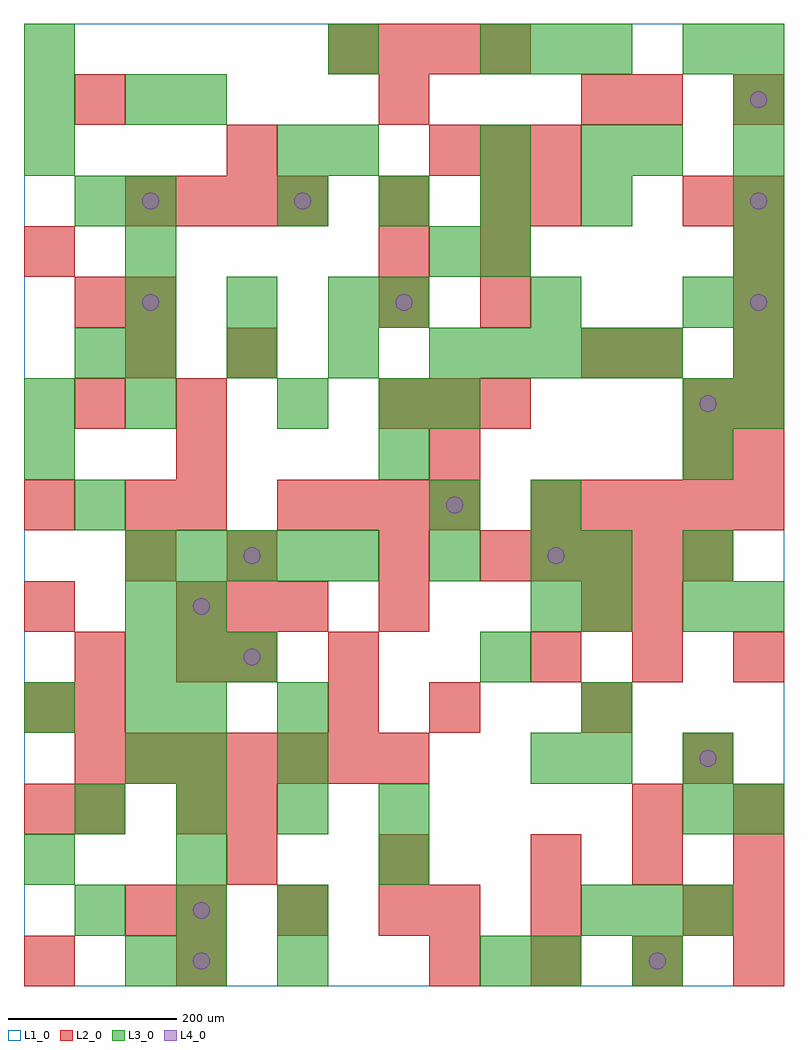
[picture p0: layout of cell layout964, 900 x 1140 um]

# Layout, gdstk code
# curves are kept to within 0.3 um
import gdstk
lib = gdstk.Library(unit=1e-6, precision=1e-09)
def R(c, l, rs):  # rectangles x0, y0, x1, y1
    for r in rs: c.add(gdstk.rectangle(r[:2], r[2:], *l))
def A(c, l, x, y, w, h, nx, ny, dx, dy):  # array of equal rectangles
    R(c, l, [(x+i*dx, y+j*dy, x+i*dx+w, y+j*dy+h) for i in range(nx) for j in range(ny)])
def P(c, l, *ps):  # polygons
    for p in ps: c.add(gdstk.Polygon(p, *l))
L1_0 = (1, 0)
L2_0 = (2, 0)
L3_0 = (3, 0)
L4_0 = (4, 0)

layout964 = lib.new_cell('layout964')
R(layout964, L1_0, [(0,0,900,1140)])
A(layout964, L2_0, 180, 0, 60, 60, 1, 4, 0, 180)
A(layout964, L2_0, 480, 0, 60, 60, 4, 1, 120, 0)
A(layout964, L2_0, 180, 60, 60, 60, 3, 1, 120, 0)
A(layout964, L2_0, 840, 60, 60, 60, 1, 3, 0, 60)
A(layout964, L2_0, 240, 120, 60, 60, 3, 1, 180, 0)
A(layout964, L2_0, 0, 180, 60, 60, 1, 4, 0, 120)
A(layout964, L2_0, 60, 240, 60, 60, 7, 1, 60, 0)
A(layout964, L2_0, 600, 360, 60, 60, 3, 1, 120, 0)
A(layout964, L2_0, 180, 420, 60, 60, 3, 1, 60, 0)
A(layout964, L2_0, 660, 420, 60, 60, 1, 3, 0, 300)
A(layout964, L2_0, 720, 420, 60, 60, 1, 3, 0, 300)
A(layout964, L2_0, 240, 480, 60, 60, 1, 3, 0, 240)
A(layout964, L2_0, 540, 480, 60, 60, 5, 1, 60, 0)
A(layout964, L2_0, 300, 540, 60, 60, 4, 1, 60, 0)
A(layout964, L2_0, 600, 540, 60, 60, 5, 1, 60, 0)
A(layout964, L2_0, 180, 600, 60, 60, 3, 1, 300, 0)
A(layout964, L2_0, 840, 600, 60, 60, 1, 6, 0, 60)
A(layout964, L2_0, 420, 660, 60, 60, 3, 1, 60, 0)
A(layout964, L2_0, 420, 780, 60, 60, 1, 3, 0, 60)
A(layout964, L2_0, 540, 780, 60, 60, 1, 3, 0, 60)
A(layout964, L2_0, 120, 900, 60, 60, 4, 1, 60, 0)
A(layout964, L2_0, 480, 960, 60, 60, 3, 1, 60, 0)
A(layout964, L2_0, 360, 1080, 60, 60, 4, 1, 60, 0)
R(layout964, L2_0, [(0,0,60,60), (120,60,180,120), (480,60,540,120), (600,60,660,120), (780,60,840,120), (720,120,780,180), (60,180,120,240), (240,180,300,240), (720,180,780,240), (780,240,840,300), (60,300,120,360), (360,300,420,360), (480,300,540,360), (660,300,720,360), (60,360,120,420), (240,360,300,420), (360,360,420,420), (420,420,480,480), (120,480,180,540), (420,480,480,540), (120,540,180,600), (60,660,120,720), (180,660,240,720), (780,660,840,720), (120,720,180,780), (60,780,120,840), (120,780,180,840), (0,840,60,900), (600,900,660,960), (780,900,840,960), (60,1020,120,1080), (420,1020,480,1080), (840,1020,900,1080)])
A(layout964, L3_0, 180, 0, 60, 60, 1, 3, 0, 120)
A(layout964, L3_0, 60, 60, 60, 60, 3, 1, 120, 0)
A(layout964, L3_0, 660, 60, 60, 60, 3, 1, 60, 0)
A(layout964, L3_0, 60, 180, 60, 60, 4, 1, 120, 0)
A(layout964, L3_0, 840, 180, 60, 60, 1, 3, 0, 240)
A(layout964, L3_0, 120, 360, 60, 60, 3, 1, 60, 0)
A(layout964, L3_0, 600, 420, 60, 60, 1, 3, 0, 60)
A(layout964, L3_0, 120, 480, 60, 60, 5, 1, 60, 0)
A(layout964, L3_0, 60, 540, 60, 60, 1, 3, 0, 180)
A(layout964, L3_0, 120, 720, 60, 60, 4, 1, 120, 0)
A(layout964, L3_0, 540, 720, 60, 60, 4, 1, 60, 0)
A(layout964, L3_0, 840, 720, 60, 60, 1, 7, 0, 60)
A(layout964, L3_0, 120, 780, 60, 60, 3, 1, 120, 0)
A(layout964, L3_0, 420, 780, 60, 60, 3, 1, 180, 0)
A(layout964, L3_0, 300, 900, 60, 60, 4, 1, 120, 0)
A(layout964, L3_0, 0, 960, 60, 60, 1, 3, 0, 60)
A(layout964, L3_0, 540, 1080, 60, 60, 3, 1, 60, 0)
R(layout964, L3_0, [(120,0,180,60), (300,0,360,60), (540,0,600,60), (600,0,660,60), (720,0,780,60), (0,120,60,180), (420,120,480,180), (780,180,840,240), (120,240,180,300), (300,240,360,300), (600,240,660,300), (660,240,720,300), (780,240,840,300), (0,300,60,360), (120,300,180,360), (180,300,240,360), (300,300,360,360), (660,300,720,360), (540,360,600,420), (120,420,180,480), (180,420,240,480), (660,420,720,480), (780,420,840,480), (480,480,540,540), (660,480,720,540), (780,480,840,540), (480,540,540,600), (0,600,60,660), (420,600,480,660), (780,600,840,660), (0,660,60,720), (120,660,180,720), (300,660,360,720), (420,660,480,720), (480,660,540,720), (780,660,840,720), (120,840,180,900), (480,840,540,900), (540,840,600,900), (120,900,180,960), (300,960,360,1020), (360,960,420,1020), (540,960,600,1020), (660,960,720,1020), (720,960,780,1020), (120,1020,180,1080), (180,1020,240,1080), (360,1080,420,1140), (780,1080,840,1140)])
P(layout964, L4_0, [(160,810),(159.239,813.827),(157.071,817.071),(153.827,819.239),(150,820),(146.173,819.239),(142.929,817.071),(140.761,813.827),(140,810),(140.761,806.173),(142.929,802.929),(146.173,800.761),(150,800),(153.827,800.761),(157.071,802.929),(159.239,806.173)],
  [(160,930),(159.239,933.827),(157.071,937.071),(153.827,939.239),(150,940),(146.173,939.239),(142.929,937.071),(140.761,933.827),(140,930),(140.761,926.173),(142.929,922.929),(146.173,920.761),(150,920),(153.827,920.761),(157.071,922.929),(159.239,926.173)],
  [(220,30),(219.239,33.827),(217.071,37.071),(213.827,39.239),(210,40),(206.173,39.239),(202.929,37.071),(200.761,33.827),(200,30),(200.761,26.173),(202.929,22.929),(206.173,20.761),(210,20),(213.827,20.761),(217.071,22.929),(219.239,26.173)],
  [(220,90),(219.239,93.827),(217.071,97.071),(213.827,99.239),(210,100),(206.173,99.239),(202.929,97.071),(200.761,93.827),(200,90),(200.761,86.173),(202.929,82.929),(206.173,80.761),(210,80),(213.827,80.761),(217.071,82.929),(219.239,86.173)],
  [(220,450),(219.239,453.827),(217.071,457.071),(213.827,459.239),(210,460),(206.173,459.239),(202.929,457.071),(200.761,453.827),(200,450),(200.761,446.173),(202.929,442.929),(206.173,440.761),(210,440),(213.827,440.761),(217.071,442.929),(219.239,446.173)],
  [(280,390),(279.239,393.827),(277.071,397.071),(273.827,399.239),(270,400),(266.173,399.239),(262.929,397.071),(260.761,393.827),(260,390),(260.761,386.173),(262.929,382.929),(266.173,380.761),(270,380),(273.827,380.761),(277.071,382.929),(279.239,386.173)],
  [(280,510),(279.239,513.827),(277.071,517.071),(273.827,519.239),(270,520),(266.173,519.239),(262.929,517.071),(260.761,513.827),(260,510),(260.761,506.173),(262.929,502.929),(266.173,500.761),(270,500),(273.827,500.761),(277.071,502.929),(279.239,506.173)],
  [(340,930),(339.239,933.827),(337.071,937.071),(333.827,939.239),(330,940),(326.173,939.239),(322.929,937.071),(320.761,933.827),(320,930),(320.761,926.173),(322.929,922.929),(326.173,920.761),(330,920),(333.827,920.761),(337.071,922.929),(339.239,926.173)],
  [(460,810),(459.239,813.827),(457.071,817.071),(453.827,819.239),(450,820),(446.173,819.239),(442.929,817.071),(440.761,813.827),(440,810),(440.761,806.173),(442.929,802.929),(446.173,800.761),(450,800),(453.827,800.761),(457.071,802.929),(459.239,806.173)],
  [(520,570),(519.239,573.827),(517.071,577.071),(513.827,579.239),(510,580),(506.173,579.239),(502.929,577.071),(500.761,573.827),(500,570),(500.761,566.173),(502.929,562.929),(506.173,560.761),(510,560),(513.827,560.761),(517.071,562.929),(519.239,566.173)],
  [(640,510),(639.239,513.827),(637.071,517.071),(633.827,519.239),(630,520),(626.173,519.239),(622.929,517.071),(620.761,513.827),(620,510),(620.761,506.173),(622.929,502.929),(626.173,500.761),(630,500),(633.827,500.761),(637.071,502.929),(639.239,506.173)],
  [(760,30),(759.239,33.827),(757.071,37.071),(753.827,39.239),(750,40),(746.173,39.239),(742.929,37.071),(740.761,33.827),(740,30),(740.761,26.173),(742.929,22.929),(746.173,20.761),(750,20),(753.827,20.761),(757.071,22.929),(759.239,26.173)],
  [(820,270),(819.239,273.827),(817.071,277.071),(813.827,279.239),(810,280),(806.173,279.239),(802.929,277.071),(800.761,273.827),(800,270),(800.761,266.173),(802.929,262.929),(806.173,260.761),(810,260),(813.827,260.761),(817.071,262.929),(819.239,266.173)],
  [(820,690),(819.239,693.827),(817.071,697.071),(813.827,699.239),(810,700),(806.173,699.239),(802.929,697.071),(800.761,693.827),(800,690),(800.761,686.173),(802.929,682.929),(806.173,680.761),(810,680),(813.827,680.761),(817.071,682.929),(819.239,686.173)],
  [(880,810),(879.239,813.827),(877.071,817.071),(873.827,819.239),(870,820),(866.173,819.239),(862.929,817.071),(860.761,813.827),(860,810),(860.761,806.173),(862.929,802.929),(866.173,800.761),(870,800),(873.827,800.761),(877.071,802.929),(879.239,806.173)],
  [(880,930),(879.239,933.827),(877.071,937.071),(873.827,939.239),(870,940),(866.173,939.239),(862.929,937.071),(860.761,933.827),(860,930),(860.761,926.173),(862.929,922.929),(866.173,920.761),(870,920),(873.827,920.761),(877.071,922.929),(879.239,926.173)],
  [(880,1050),(879.239,1053.827),(877.071,1057.071),(873.827,1059.239),(870,1060),(866.173,1059.239),(862.929,1057.071),(860.761,1053.827),(860,1050),(860.761,1046.173),(862.929,1042.929),(866.173,1040.761),(870,1040),(873.827,1040.761),(877.071,1042.929),(879.239,1046.173)])

lib.write_gds('layout964.gds')
